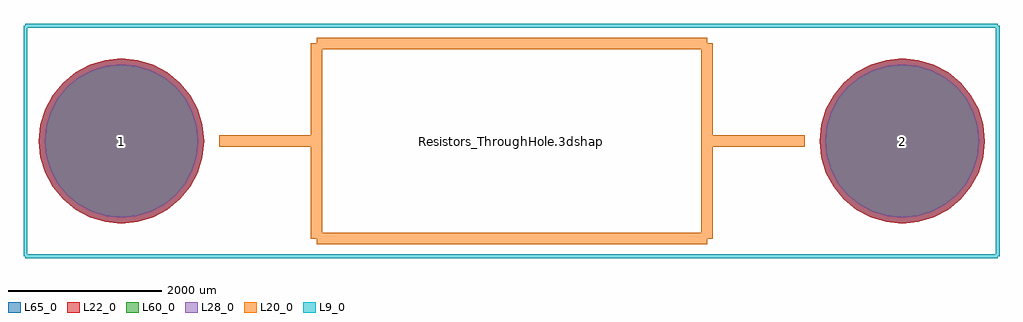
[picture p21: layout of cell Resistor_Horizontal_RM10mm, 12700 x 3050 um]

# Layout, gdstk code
import gdstk
lib = gdstk.Library(unit=1e-6, precision=1e-09)
def P(c, l, *ps):  # polygons
    for p in ps: c.add(gdstk.Polygon(p, *l))
L9_0 = (9, 0)
L20_0 = (20, 0)
L22_0 = (22, 0)
L28_0 = (28, 0)
L60_0 = (60, 0)
L65_0 = (65, 0)

resistor_horizontal_rm10 = lib.new_cell('Resistor_Horizontal_RM10mm')
P(resistor_horizontal_rm10, L22_0, [(11234.49,0),(11213.844,209.623),(11152.699,411.19),(11053.406,596.955),(10919.779,759.779),(10756.955,893.406),(10571.19,992.699),(10369.623,1053.844),(10160,1074.49),(9950.377,1053.844),(9748.81,992.699),(9563.045,893.406),(9400.221,759.779),(9266.594,596.955),(9167.301,411.19),(9106.156,209.623),(9085.51,0),(9106.156,-209.623),(9167.301,-411.19),(9266.594,-596.955),(9400.221,-759.779),(9563.045,-893.406),(9748.81,-992.699),(9950.377,-1053.844),(10160,-1074.49),(10369.623,-1053.844),(10571.19,-992.699),(10756.955,-893.406),(10919.779,-759.779),(11053.406,-596.955),(11152.699,-411.19),(11213.844,-209.623)],
  [(1074.49,0),(1053.844,209.623),(992.699,411.19),(893.406,596.955),(759.779,759.779),(596.955,893.406),(411.19,992.699),(209.623,1053.844),(0,1074.49),(-209.623,1053.844),(-411.19,992.699),(-596.955,893.406),(-759.779,759.779),(-893.406,596.955),(-992.699,411.19),(-1053.844,209.623),(-1074.49,0),(-1053.844,-209.623),(-992.699,-411.19),(-893.406,-596.955),(-759.779,-759.779),(-596.955,-893.406),(-411.19,-992.699),(-209.623,-1053.844),(0,-1074.49),(209.623,-1053.844),(411.19,-992.699),(596.955,-893.406),(759.779,-759.779),(893.406,-596.955),(992.699,-411.19),(1053.844,-209.623)])
P(resistor_horizontal_rm10, L28_0, [(11159.49,0),(11140.285,194.991),(11083.408,382.488),(10991.046,555.287),(10866.746,706.746),(10715.287,831.046),(10542.488,923.408),(10354.991,980.285),(10160,999.49),(9965.009,980.285),(9777.512,923.408),(9604.713,831.046),(9453.254,706.746),(9328.954,555.287),(9236.592,382.488),(9179.715,194.991),(9160.51,0),(9179.715,-194.991),(9236.592,-382.488),(9328.954,-555.287),(9453.254,-706.746),(9604.713,-831.046),(9777.512,-923.408),(9965.009,-980.285),(10160,-999.49),(10354.991,-980.285),(10542.488,-923.408),(10715.287,-831.046),(10866.746,-706.746),(10991.046,-555.287),(11083.408,-382.488),(11140.285,-194.991)],
  [(999.49,0),(980.285,194.991),(923.408,382.488),(831.046,555.287),(706.746,706.746),(555.287,831.046),(382.488,923.408),(194.991,980.285),(0,999.49),(-194.991,980.285),(-382.488,923.408),(-555.287,831.046),(-706.746,706.746),(-831.046,555.287),(-923.408,382.488),(-980.285,194.991),(-999.49,0),(-980.285,-194.991),(-923.408,-382.488),(-831.046,-555.287),(-706.746,-706.746),(-555.287,-831.046),(-382.488,-923.408),(-194.991,-980.285),(0,-999.49),(194.991,-980.285),(382.488,-923.408),(555.287,-831.046),(706.746,-706.746),(831.046,-555.287),(923.408,-382.488),(980.285,-194.991)])
P(resistor_horizontal_rm10, L60_0, [(11159.49,0),(11140.285,194.991),(11083.408,382.488),(10991.046,555.287),(10866.746,706.746),(10715.287,831.046),(10542.488,923.408),(10354.991,980.285),(10160,999.49),(9965.009,980.285),(9777.512,923.408),(9604.713,831.046),(9453.254,706.746),(9328.954,555.287),(9236.592,382.488),(9179.715,194.991),(9160.51,0),(9179.715,-194.991),(9236.592,-382.488),(9328.954,-555.287),(9453.254,-706.746),(9604.713,-831.046),(9777.512,-923.408),(9965.009,-980.285),(10160,-999.49),(10354.991,-980.285),(10542.488,-923.408),(10715.287,-831.046),(10866.746,-706.746),(10991.046,-555.287),(11083.408,-382.488),(11140.285,-194.991)],
  [(999.49,0),(980.285,194.991),(923.408,382.488),(831.046,555.287),(706.746,706.746),(555.287,831.046),(382.488,923.408),(194.991,980.285),(0,999.49),(-194.991,980.285),(-382.488,923.408),(-555.287,831.046),(-706.746,706.746),(-831.046,555.287),(-923.408,382.488),(-980.285,194.991),(-999.49,0),(-980.285,-194.991),(-923.408,-382.488),(-831.046,-555.287),(-706.746,-706.746),(-555.287,-831.046),(-382.488,-923.408),(-194.991,-980.285),(0,-999.49),(194.991,-980.285),(382.488,-923.408),(555.287,-831.046),(706.746,-706.746),(831.046,-555.287),(923.408,-382.488),(980.285,-194.991)])
P(resistor_horizontal_rm10, L65_0, [(11234.49,0),(11213.844,209.623),(11152.699,411.19),(11053.406,596.955),(10919.779,759.779),(10756.955,893.406),(10571.19,992.699),(10369.623,1053.844),(10160,1074.49),(9950.377,1053.844),(9748.81,992.699),(9563.045,893.406),(9400.221,759.779),(9266.594,596.955),(9167.301,411.19),(9106.156,209.623),(9085.51,0),(9106.156,-209.623),(9167.301,-411.19),(9266.594,-596.955),(9400.221,-759.779),(9563.045,-893.406),(9748.81,-992.699),(9950.377,-1053.844),(10160,-1074.49),(10369.623,-1053.844),(10571.19,-992.699),(10756.955,-893.406),(10919.779,-759.779),(11053.406,-596.955),(11152.699,-411.19),(11213.844,-209.623)],
  [(1074.49,0),(1053.844,209.623),(992.699,411.19),(893.406,596.955),(759.779,759.779),(596.955,893.406),(411.19,992.699),(209.623,1053.844),(0,1074.49),(-209.623,1053.844),(-411.19,992.699),(-596.955,893.406),(-759.779,759.779),(-893.406,596.955),(-992.699,411.19),(-1053.844,209.623),(-1074.49,0),(-1053.844,-209.623),(-992.699,-411.19),(-893.406,-596.955),(-759.779,-759.779),(-596.955,-893.406),(-411.19,-992.699),(-209.623,-1053.844),(0,-1074.49),(209.623,-1053.844),(411.19,-992.699),(596.955,-893.406),(759.779,-759.779),(893.406,-596.955),(992.699,-411.19),(1053.844,-209.623)])
resistor_horizontal_rm10.add(gdstk.FlexPath([(7620,0),(8890,0)], 149.998, ends="flush", simple_path=True, layer=20, datatype=0))  # L20_0
resistor_horizontal_rm10.add(gdstk.FlexPath([(2540,0),(1270,0)], 149.998, ends="flush", simple_path=True, layer=20, datatype=0))  # L20_0
resistor_horizontal_rm10.add(gdstk.FlexPath([(2540,-1270),(2540,1270)], 149.998, ends="flush", simple_path=True, layer=20, datatype=0))  # L20_0
resistor_horizontal_rm10.add(gdstk.FlexPath([(7620,-1270),(2540,-1270)], 149.998, ends="flush", simple_path=True, layer=20, datatype=0))  # L20_0
resistor_horizontal_rm10.add(gdstk.FlexPath([(7620,1270),(7620,-1270)], 149.998, ends="flush", simple_path=True, layer=20, datatype=0))  # L20_0
resistor_horizontal_rm10.add(gdstk.FlexPath([(2540,1270),(7620,1270)], 149.998, ends="flush", simple_path=True, layer=20, datatype=0))  # L20_0
resistor_horizontal_rm10.add(gdstk.FlexPath([(-1250,-1500),(11400,-1500)], 50, ends="flush", simple_path=True, layer=9, datatype=0))  # L9_0
resistor_horizontal_rm10.add(gdstk.FlexPath([(11400,1500),(11400,-1500)], 50, ends="flush", simple_path=True, layer=9, datatype=0))  # L9_0
resistor_horizontal_rm10.add(gdstk.FlexPath([(-1250,-1500),(-1250,1500)], 50, ends="flush", simple_path=True, layer=9, datatype=0))  # L9_0
resistor_horizontal_rm10.add(gdstk.FlexPath([(-1250,1500),(11400,1500)], 50, ends="flush", simple_path=True, layer=9, datatype=0))  # L9_0
resistor_horizontal_rm10.add(gdstk.Label('Resistors_ThroughHole.3dshapes/Resistor_Horizontal_RM10mm.wrl', (5080,0), layer=12, texttype=0))
resistor_horizontal_rm10.add(gdstk.Label('2', (10160,0), layer=28, texttype=0))
resistor_horizontal_rm10.add(gdstk.Label('1', (0,0), layer=28, texttype=0))
resistor_horizontal_rm10.add(gdstk.Label('type', (5080,-3810), layer=9, texttype=0))
resistor_horizontal_rm10.add(gdstk.Label('devicename', (5328.92,3500.12), layer=9, texttype=0))

lib.write_gds('Resistor_Horizontal_RM10mm.gds')
